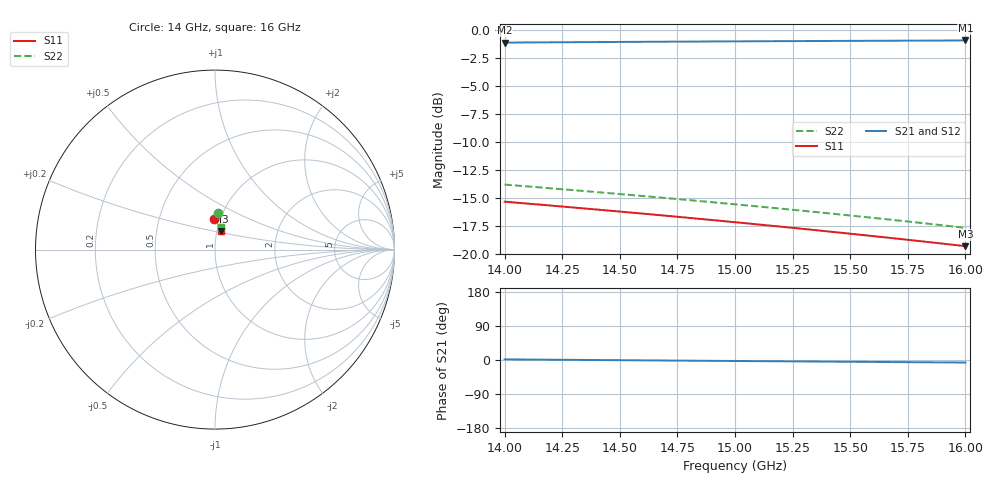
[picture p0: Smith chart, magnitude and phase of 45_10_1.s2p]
! Created Fri Dec 11 14:11:43 2020
# hz S ma R 50
! 2 Port Network Data from Sweep1.SP1.SP block
! freq  magS11  angS11  magS21  angS21  magS12  angS12  magS22  angS22
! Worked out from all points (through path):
!   21 points, 14 GHz to 16 GHz, reference 50 ohm
!   highest |S21| = -0.94 dB at 16 GHz (marker M1); lowest = -1.1 dB at 14 GHz (marker M2)
!   lowest |S11| = -19.3 dB at 16 GHz (marker M3), VSWR 1.24, Z = 52.3 + j10.9 ohm
!   |S11| at or under -10 dB: start of sweep to end of sweep
!   |S22| runs from -17.7 to -13.8 dB; largest |S21 - S12| = 0
1.4e10  0.1707 92.7  0.8784 1.7  0.8784 1.7  0.2036 85.0
1.41e10  0.1674 91.8  0.8796 1.2  0.8796 1.2  0.1998 84.5
1.42e10  0.1641 90.8  0.8809 0.8  0.8809 0.8  0.196 84.0
1.43e10  0.1608 89.9  0.8821 0.4  0.8821 0.4  0.1922 83.5
1.44e10  0.1575 88.9  0.8832 -0.1  0.8832 -0.1  0.1884 83.0
1.45e10  0.1542 88.0  0.8844 -0.5  0.8844 -0.5  0.1847 82.5
1.46e10  0.151 87.0  0.8855 -0.9  0.8855 -0.9  0.1809 82.0
1.47e10  0.1477 86.1  0.8865 -1.4  0.8865 -1.4  0.1772 81.5
1.48e10  0.1445 85.1  0.8876 -1.8  0.8876 -1.8  0.1735 81.0
1.49e10  0.1414 84.1  0.8886 -2.2  0.8886 -2.2  0.1698 80.6
1.5e10  0.1382 83.1  0.8896 -2.6  0.8896 -2.6  0.1662 80.1
1.51e10  0.1351 82.0  0.8905 -3.0  0.8905 -3.0  0.1625 79.6
1.52e10  0.132 81.0  0.8915 -3.5  0.8915 -3.5  0.1589 79.1
1.53e10  0.1289 79.9  0.8924 -3.9  0.8924 -3.9  0.1553 78.5
1.54e10  0.1258 78.9  0.8932 -4.3  0.8932 -4.3  0.1517 78.0
1.55e10  0.1228 77.8  0.8941 -4.7  0.8941 -4.7  0.1481 77.5
1.56e10  0.1198 76.7  0.8949 -5.1  0.8949 -5.1  0.1445 77.0
1.57e10  0.1168 75.5  0.8957 -5.5  0.8957 -5.5  0.141 76.5
1.58e10  0.1138 74.4  0.8965 -5.9  0.8965 -5.9  0.1374 76.0
1.59e10  0.1109 73.2  0.8972 -6.3  0.8972 -6.3  0.1339 75.4
1.6e10  0.108 72.0  0.8979 -6.7  0.8979 -6.7  0.1304 74.9
